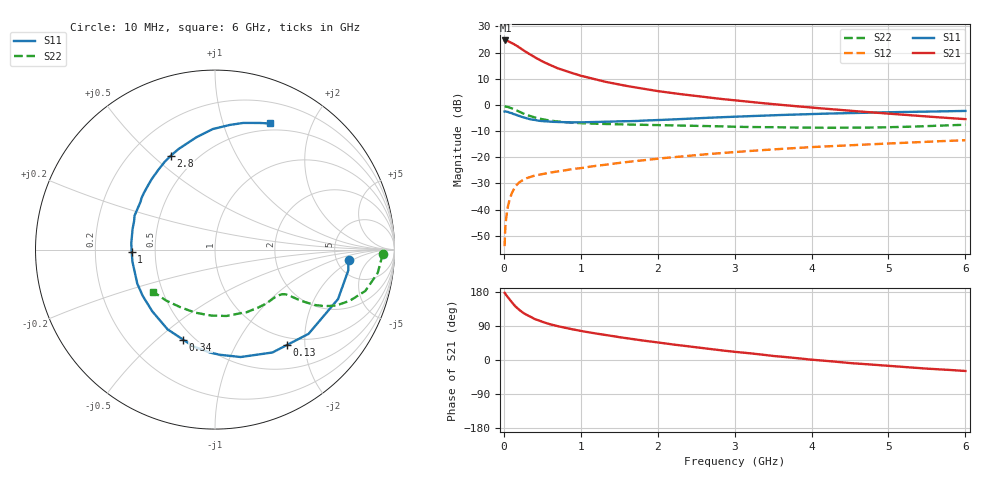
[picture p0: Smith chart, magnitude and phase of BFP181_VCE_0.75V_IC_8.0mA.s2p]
! Infineon Technologies  Discrete & RF Semiconductors
! BFP181
! VCE = 0.75V,  IC =  8.0 mA
! Common Emitter S-Parameters:  Jan 2016
# GHz  S  MA  R  50
!  f  S11  S21  S12  S22
! GHz  MAG  ANG  MAG  ANG  MAG  ANG  MAG  ANG
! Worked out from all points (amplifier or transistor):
!   210 points, 10 MHz to 6 GHz, reference 50 ohm
!   highest |S21| = 24.6 dB at 20 MHz (marker M1)
!   |S21| within 3 dB of that: start of sweep to 217.6 MHz
!   unconditionally stable (mu >= 1): 633.7 MHz to end of sweep
!   at 185 MHz: K = 0.38, MSG = 26.1 dB, |S12| = -30.0 dB
!   at 1.52 GHz: K = 1.55, MAG = 10.5 dB, |S12| = -22.1 dB
!   at 6 GHz: K = 1.43, MAG = 0.1 dB, |S12| = -13.5 dB
!   S11 on the Smith chart (normalised r, x): 10 MHz: 6.40, -1.73; 130 MHz: 0.87, -1.66; 340 MHz: 0.44, -0.61; 1 GHz: 0.37, -0.01; 2.8 GHz: 0.36, +0.57; 6 GHz: 0.42, +1.44
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0.01  0.7463 -4.6  16.98 177.2  0.002 82.6  0.9355 -1.5
0.02  0.7515 -8.9  17.01 174.7  0.0047 84.5  0.9291 -3.2
0.055  0.7312 -23.8  16.48 164.7  0.0118 77.7  0.9103 -8.9
0.1  0.7014 -42.0  15.38 153.0  0.02 69.1  0.8685 -15.4
0.13  0.6657 -53.0  14.48 146.3  0.0246 63.6  0.8278 -18.6
0.15  0.6566 -60.8  14.01 141.4  0.0278 61.0  0.8022 -20.9
0.2  0.6152 -76.6  12.57 132.3  0.0331 54.6  0.7422 -24.8
0.26  0.5747 -92.6  10.9 123.3  0.0374 49.4  0.6772 -27.6
0.34  0.5323 -109.5  9.215 114.8  0.0418 45.2  0.6134 -29.5
0.4  0.517 -120.7  8.137 108.2  0.0446 43.4  0.5733 -30.4
0.5  0.4903 -135.5  6.75 100.6  0.0477 40.9  0.5307 -31.1
0.6  0.4782 -147.4  5.787 94.3  0.0508 41.0  0.5012 -31.5
0.8  0.4634 -164.8  4.447 84.6  0.0563 40.3  0.4665 -32.3
1  0.4645 -178.4  3.608 76.7  0.0619 41.1  0.4479 -33.8
1.02  0.4648 -179.6  3.547 76.0  0.0626 41.1  0.4466 -34.0
1.5  0.4864 157.1  2.445 60.2  0.0779 42.3  0.4243 -39.5
2.02  0.5142 137.5  1.818 45.8  0.0946 41.3  0.4113 -48.0
2.8  0.5783 115.1  1.311 26.0  0.1192 37.8  0.3908 -63.4
3.1  0.6019 107.8  1.18 19.7  0.1287 35.9  0.3797 -70.2
4.1  0.6761 89.5  0.864 -0.8  0.1588 28.7  0.3665 -96.1
5.1  0.7268 76.2  0.662 -16.9  0.1859 21.4  0.3766 -123.5
6  0.7663 66.5  0.534 -29.0  0.2114 14.0  0.4178 -146.0
